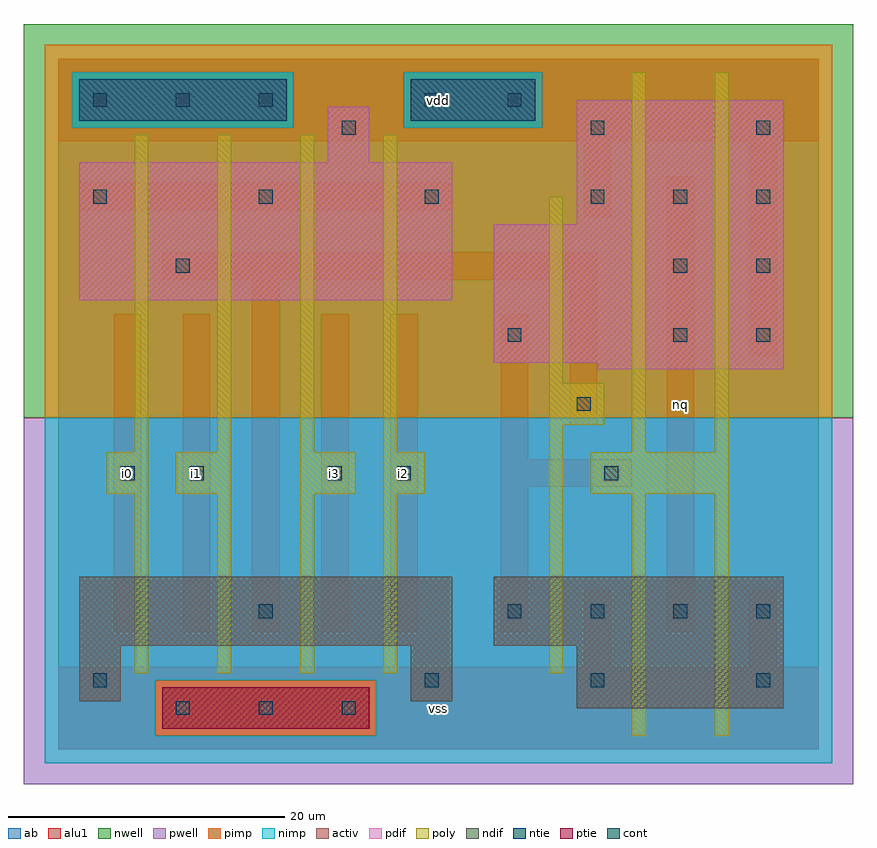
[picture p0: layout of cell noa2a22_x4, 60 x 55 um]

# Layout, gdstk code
import gdstk
lib = gdstk.Library(unit=1e-6, precision=1e-09)
def R(c, l, rs):  # rectangles x0, y0, x1, y1
    for r in rs: c.add(gdstk.rectangle(r[:2], r[2:], *l))
def A(c, l, x, y, w, h, nx, ny, dx, dy):  # array of equal rectangles
    R(c, l, [(x+i*dx, y+j*dy, x+i*dx+w, y+j*dy+h) for i in range(nx) for j in range(ny)])
ndif = (3, 0)
pdif = (4, 0)
ntie = (5, 0)
ptie = (6, 0)
cont = (25, 0)
pwell = (41, 0)
nwell = (42, 0)
activ = (43, 0)
pimp = (44, 0)
nimp = (45, 0)
poly = (46, 0)
alu1 = (49, 0)
ab = (63, 0)

noa2a22_x4 = lib.new_cell('noa2a22_x4')
R(noa2a22_x4, ndif, [(37.5,3,52.5,7.5), (1.5,3.5,4.5,7.5), (25.5,3.5,28.5,7.5), (1.5,7.5,28.5,12.5), (31.5,7.5,52.5,12.5)])
R(noa2a22_x4, pdif, [(39,27.5,52.5,28), (31.5,28,52.5,38), (1.5,32.5,28.5,42.5), (37.5,38,52.5,47), (19.5,42.5,22.5,46.5)])
R(noa2a22_x4, ntie, [(1.5,45.5,16.5,48.5), (25.5,45.5,34.5,48.5)])
R(noa2a22_x4, ptie, [(7.5,1.5,22.5,4.5)])
A(noa2a22_x4, cont, 8.5, 2.5, 1, 1, 3, 1, 6, 0)
A(noa2a22_x4, cont, 26.5, 4.5, 1, 1, 3, 1, 12, 0)
A(noa2a22_x4, cont, 32.5, 9.5, 1, 1, 4, 1, 6, 0)
A(noa2a22_x4, cont, 44.5, 29.5, 1, 1, 1, 3, 0, 5)
A(noa2a22_x4, cont, 50.5, 29.5, 1, 1, 1, 4, 0, 5)
A(noa2a22_x4, cont, 2.5, 39.5, 1, 1, 4, 1, 12, 0)
A(noa2a22_x4, cont, 2.5, 46.5, 1, 1, 3, 1, 6, 0)
R(noa2a22_x4, cont, [(2.5,4.5,3.5,5.5), (14.5,9.5,15.5,10.5), (4.5,19.5,5.5,20.5), (9.5,19.5,10.5,20.5), (19.5,19.5,20.5,20.5), (24.5,19.5,25.5,20.5), (39.5,19.5,40.5,20.5), (37.5,24.5,38.5,25.5), (32.5,29.5,33.5,30.5), (8.5,34.5,9.5,35.5), (20.5,44.5,21.5,45.5), (38.5,44.5,39.5,45.5), (26.5,46.5,27.5,47.5), (32.5,46.5,33.5,47.5)])
R(noa2a22_x4, pwell, [(-2.5,-2.5,57.5,24)])
R(noa2a22_x4, nwell, [(-2.5,24,57.5,52.5)])
R(noa2a22_x4, activ, [(7.5,1.5,22.5,4.5), (37.5,3,52.5,7.5), (1.5,3.5,4.5,7.5), (25.5,3.5,28.5,7.5), (1.5,7.5,28.5,12.5), (31.5,7.5,52.5,12.5), (39,27.5,52.5,28), (31.5,28,52.5,38), (1.5,32.5,28.5,42.5), (37.5,38,52.5,47), (19.5,42.5,22.5,46.5), (1.5,45.5,16.5,48.5), (25.5,45.5,34.5,48.5)])
R(noa2a22_x4, pimp, [(7,1,23,5), (-1,24,56,45), (-1,45,1,49), (17,45,25,49), (35,45,56,49), (-1,49,56,51)])
R(noa2a22_x4, nimp, [(-1,-1,56,1), (-1,1,7,5), (23,1,56,5), (-1,5,56,24), (1,45,17,49), (25,45,35,49)])
A(noa2a22_x4, poly, 5.5, 5.5, 1, 13, 4, 1, 6, 0)
A(noa2a22_x4, poly, 5.5, 21.5, 1, 23, 4, 1, 6, 0)
R(noa2a22_x4, poly, [(41.5,1,42.5,18.5), (47.5,1,48.5,18.5), (35.5,5.5,36.5,23.5), (3.5,18.5,6.5,21.5), (8.5,18.5,12.5,21.5), (17.5,18.5,21.5,21.5), (23.5,18.5,26.5,21.5), (38.5,18.5,48.5,21.5), (41.5,21.5,42.5,49), (47.5,21.5,48.5,49), (35.5,23.5,39.5,26.5), (35.5,26.5,36.5,40)])
R(noa2a22_x4, alu1, [(0,0,55,6), (0,0,55,6), (38,6,40,11.5), (38,6,40,11.5), (50,6,52,11.5), (50,6,52,11.5), (4,8.5,6,31.5), (4,8.5,6,31.5), (9,8.5,11,31.5), (9,8.5,11,31.5), (14,8.5,16,34), (14,8.5,16,34), (19,8.5,21,31.5), (19,8.5,21,31.5), (24,8.5,26,31.5), (24,8.5,26,31.5), (32,8.5,34,19), (32,8.5,34,19), (44,8.5,46,41.5), (44,8.5,46,41.5), (32,19,41.5,21), (32,19,41.5,21), (32,21,34,31.5), (32,21,34,31.5), (37,23.5,39,34), (37,23.5,39,34), (50,28.5,52,44), (50,28.5,52,44), (7.5,34,39,36), (7.5,34,39,36), (38,38.5,40,44), (38,38.5,40,44), (1.5,39,28.5,41), (1.5,39,28.5,41), (0,44,55,50), (0,44,55,50)])
R(noa2a22_x4, ab, [(0,0,55,50)])
noa2a22_x4.add(gdstk.Label('i0', (5,20), layer=49, texttype=0))
noa2a22_x4.add(gdstk.Label('i1', (10,20), layer=49, texttype=0))
noa2a22_x4.add(gdstk.Label('i3', (20,20), layer=49, texttype=0))
noa2a22_x4.add(gdstk.Label('i2', (25,20), layer=49, texttype=0))
noa2a22_x4.add(gdstk.Label('vss', (27.5,3), layer=49, texttype=0))
noa2a22_x4.add(gdstk.Label('vdd', (27.5,47), layer=49, texttype=0))
noa2a22_x4.add(gdstk.Label('nq', (45,25), layer=49, texttype=0))

lib.write_gds('noa2a22_x4.gds')
